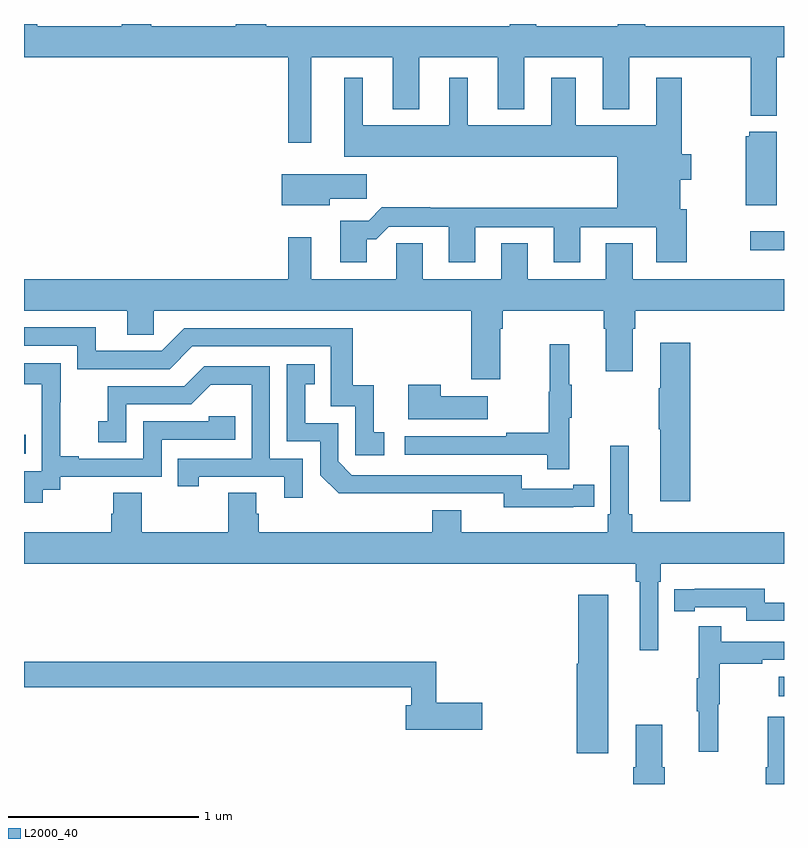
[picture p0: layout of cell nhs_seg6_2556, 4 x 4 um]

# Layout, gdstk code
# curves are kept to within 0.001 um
import gdstk
lib = gdstk.Library(unit=1e-6, precision=1e-09)
def R(c, l, rs):  # rectangles x0, y0, x1, y1
    for r in rs: c.add(gdstk.rectangle(r[:2], r[2:], *l))
def P(c, l, *ps):  # polygons
    for p in ps: c.add(gdstk.Polygon(p, *l))
L2000_40 = (2000, 40)

nhs_seg6_2556 = lib.new_cell('nhs_seg6_2556')
R(nhs_seg6_2556, L2000_40, [(266.973,955.961,267,956.065), (263,957.237,263.009,957.338), (266.823,958.31,267,958.408)])
P(nhs_seg6_2556, L2000_40, [(266.185,959.324),(266.824,959.324),(266.824,959.018),(266.962,959.018),(266.962,959.324),(267,959.324),(267,959.488),(266.27,959.488),(266.27,959.5),(266.126,959.5),(266.126,959.488),(265.696,959.488),(265.696,959.5),(265.556,959.5),(265.556,959.488),(264.275,959.488),(264.275,959.5),(264.115,959.5),(264.115,959.488),(263.67,959.488),(263.67,959.5),(263.515,959.5),(263.515,959.488),(263.07,959.488),(263.07,959.5),(263,959.5),(263,959.324),(264.39,959.324),(264.39,958.875),(264.511,958.875),(264.511,959.324),(264.941,959.324),(264.941,959.051),(265.081,959.051),(265.081,959.324),(265.493,959.324),(265.493,959.051),(265.633,959.051),(265.633,959.324),(266.045,959.324),(266.045,959.051),(266.185,959.051)],
  [(264.805,958.367),(264.854,958.367),(264.921,958.434),(265.235,958.434),(265.235,958.245),(265.375,958.245),(265.375,958.431),(265.787,958.431),(265.787,958.245),(265.927,958.245),(265.927,958.431),(266.327,958.431),(266.327,958.245),(266.487,958.245),(266.487,958.524),(266.455,958.524),(266.455,958.679),(266.512,958.679),(266.512,958.814),(266.463,958.814),(266.463,959.218),(266.327,959.218),(266.327,958.966),(265.903,958.966),(265.903,959.218),(265.775,959.218),(265.775,958.966),(265.336,958.966),(265.336,959.218),(265.238,959.218),(265.238,958.966),(264.784,958.966),(264.784,959.218),(264.686,959.218),(264.686,958.802),(266.123,958.802),(266.123,958.532),(265.139,958.532),(265.139,958.535),(264.884,958.535),(264.814,958.465),(264.665,958.465),(264.665,958.245),(264.805,958.245)],
  [(266.962,958.933),(266.817,958.933),(266.817,958.908),(266.798,958.908),(266.798,958.547),(266.962,958.547)],
  [(264.61,958.579),(264.805,958.579),(264.805,958.708),(264.356,958.708),(264.356,958.547),(264.61,958.547)],
  [(265.507,957.896),(265.52,957.896),(265.52,957.992),(266.051,957.992),(266.051,957.896),(266.063,957.896),(266.063,957.672),(266.203,957.672),(266.203,957.896),(266.216,957.896),(266.216,957.992),(267,957.992),(267,958.156),(266.203,958.156),(266.203,958.346),(266.063,958.346),(266.063,958.156),(265.651,958.156),(265.651,958.346),(265.511,958.346),(265.511,958.156),(265.099,958.156),(265.099,958.346),(264.96,958.346),(264.96,958.156),(264.511,958.156),(264.511,958.378),(264.39,958.378),(264.39,958.156),(263,958.156),(263,957.992),(263.543,957.992),(263.543,957.865),(263.682,957.865),(263.682,957.992),(265.355,957.992),(265.355,957.63),(265.507,957.63)],
  [(264.895,957.351),(264.842,957.351),(264.842,957.598),(264.731,957.598),(264.731,957.9),(263.844,957.9),(263.724,957.78),(263.377,957.78),(263.377,957.903),(263,957.903),(263,957.807),(263.28,957.807),(263.28,957.684),(263.766,957.684),(263.886,957.804),(264.615,957.804),(264.615,957.489),(264.744,957.489),(264.744,957.231),(264.895,957.231)],
  [(266.507,957.823),(266.348,957.823),(266.348,957.584),(266.341,957.584),(266.341,957.367),(266.348,957.367),(266.348,956.988),(266.507,956.988)],
  [(265.871,957.427),(265.882,957.427),(265.882,957.601),(265.871,957.601),(265.871,957.814),(265.768,957.814),(265.768,957.564),(265.761,957.564),(265.761,957.35),(265.537,957.35),(265.537,957.33),(265.005,957.33),(265.005,957.234),(265.753,957.234),(265.753,957.156),(265.871,957.156)],
  [(263.098,957.049),(263.19,957.049),(263.19,957.117),(263.724,957.117),(263.724,957.312),(264.113,957.312),(264.113,957.435),(263.973,957.435),(263.973,957.408),(263.628,957.408),(263.628,957.213),(263.287,957.213),(263.287,957.226),(263.192,957.226),(263.192,957.509),(263.193,957.509),(263.193,957.715),(263,957.715),(263,957.605),(263.093,957.605),(263.093,957.377),(263.094,957.377),(263.094,957.147),(263,957.147),(263,956.979),(263.098,956.979)],
  [(265.892,956.958),(266,956.958),(266,957.074),(265.892,957.074),(265.892,957.054),(265.62,957.054),(265.62,957.126),(264.726,957.126),(264.654,957.198),(264.654,957.399),(264.481,957.399),(264.481,957.603),(264.53,957.603),(264.53,957.709),(264.384,957.709),(264.384,957.303),(264.558,957.303),(264.558,957.126),(264.656,957.029),(265.524,957.03),(265.524,956.957)],
  [(264.468,957.213),(264.294,957.213),(264.294,957.699),(263.948,957.699),(263.843,957.594),(263.44,957.594),(263.44,957.409),(263.391,957.409),(263.391,957.3),(263.538,957.3),(263.538,957.498),(263.88,957.498),(263.984,957.602),(264.198,957.602),(264.198,957.213),(263.809,957.213),(263.809,957.066),(263.92,957.066),(263.92,957.117),(264.371,957.117),(264.371,957.006),(264.468,957.006)],
  [(265.441,957.541),(265.193,957.541),(265.193,957.601),(265.022,957.601),(265.022,957.419),(265.441,957.419)],
  [(266.337,956.564),(266.351,956.564),(266.351,956.66),(267,956.66),(267,956.824),(266.201,956.824),(266.201,956.92),(266.182,956.92),(266.182,957.28),(266.085,957.28),(266.085,956.92),(266.072,956.92),(266.072,956.824),(265.3,956.824),(265.3,956.941),(265.148,956.941),(265.148,956.824),(264.236,956.824),(264.236,956.922),(264.223,956.922),(264.223,957.032),(264.076,957.032),(264.076,956.824),(263.619,956.824),(263.619,957.032),(263.471,957.032),(263.471,956.922),(263.459,956.922),(263.459,956.824),(263,956.824),(263,956.66),(266.221,956.66),(266.221,956.564),(266.24,956.564),(266.24,956.205),(266.337,956.205)],
  [(267,956.454),(266.898,956.454),(266.898,956.527),(266.53,956.527),(266.53,956.526),(266.422,956.526),(266.422,956.41),(266.53,956.41),(266.53,956.43),(266.802,956.43),(266.802,956.358),(267,956.358)],
  [(266.074,956.497),(265.916,956.497),(265.916,956.133),(265.91,956.133),(265.91,955.662),(266.074,955.662)],
  [(266.654,955.92),(266.662,955.92),(266.662,956.134),(266.885,956.134),(266.885,956.154),(267,956.154),(267,956.25),(266.669,956.25),(266.669,956.329),(266.552,956.329),(266.552,956.057),(266.541,956.057),(266.541,955.883),(266.552,955.883),(266.552,955.671),(266.654,955.671)],
  [(265.411,955.928),(265.169,955.928),(265.169,956.144),(263,956.144),(263,956.008),(265.037,956.008),(265.037,955.915),(265.01,955.915),(265.01,955.786),(265.411,955.786)],
  [(267,955.855),(266.915,955.855),(266.915,955.588),(266.903,955.588),(266.903,955.5),(267,955.5)],
  [(266.372,955.588),(266.359,955.588),(266.359,955.813),(266.219,955.813),(266.219,955.588),(266.207,955.588),(266.207,955.5),(266.372,955.5)])

lib.write_gds('nhs_seg6_2556.gds')
